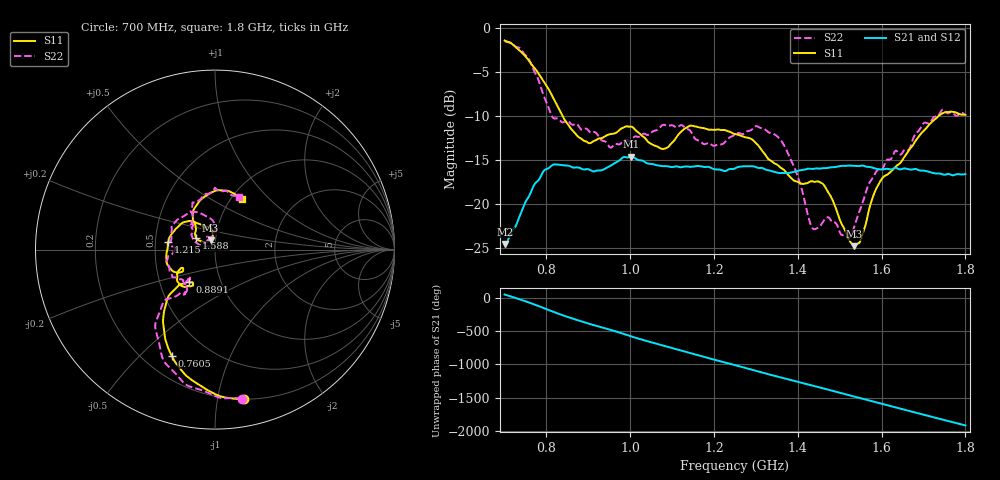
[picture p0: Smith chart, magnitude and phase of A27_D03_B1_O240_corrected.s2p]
! Created with skrf 1.9.0 (http://scikit-rf.org).
# Hz S RI R 50.0
!freq ReS11 ImS11 ReS21 ImS21 ReS12 ImS12 ReS22 ImS22
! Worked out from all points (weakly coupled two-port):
!   1601 points, 700 MHz to 1.8 GHz, reference 50 ohm
!   highest |S21| = -14.60 dB at 1.002 GHz (marker M1); lowest = -24.5 dB at 701.4 MHz (marker M2)
!   lowest |S11| = -24.8 dB at 1.535 GHz (marker M3), VSWR 1.12, Z = 47.3 + j4.93 ohm
!   |S11| at or under -10 dB: 838.3 MHz to 1.736 GHz (897.9 MHz wide, 69.8 % of centre)
!   |S22| runs from -23.9 to -1.5 dB; largest |S21 - S12| = 0.0036
!   S11 on the Smith chart (normalised r, x): 700 MHz: 0.20, -1.19; 760.5 MHz: 0.31, -0.63; 889.1 MHz: 0.71, -0.27; 1.215 GHz: 0.59, +0.05; 1.588 GHz: 0.80, +0.11; 1.8 GHz: 1.12, +0.71
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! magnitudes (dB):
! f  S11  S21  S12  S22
! 700 MHz  -1.4  -24.5  -24.3  -1.5
! 701.4 MHz  -1.4  -24.5  -24.2  -1.5
! 760.5 MHz  -3.9  -18.9  -18.8  -3.8
! 814.8 MHz  -7.8  -15.6  -15.6  -10.2
! 883.6 MHz  -12.6  -16.0  -15.9  -11.6
! 889.1 MHz  -12.8  -16.1  -16.0  -11.5
! 953 MHz  -12.1  -15.6  -15.6  -13.6
! 1.002 GHz  -11.2  -14.6  -14.7  -12.7
! 1.067 GHz  -13.5  -15.6  -15.6  -11.5
! 1.142 GHz  -11.1  -15.8  -15.7  -11.6
! 1.215 GHz  -11.6  -16.1  -16.1  -13.2
! 1.25 GHz  -12.1  -16.0  -15.9  -12.1
! 1.357 GHz  -15.8  -16.5  -16.4  -12.6
! 1.396 GHz  -17.4  -16.3  -16.3  -16.4
! 1.434 GHz  -17.4  -16.0  -16.0  -22.6
! 1.464 GHz  -18.0  -15.9  -15.9  -21.7
! 1.52 GHz  -23.8  -15.6  -15.6  -23.8
! 1.535 GHz  -24.8  -15.7  -15.7  -22.6
! 1.588 GHz  -18.2  -16.0  -16.0  -16.2
! 1.617 GHz  -16.5  -16.0  -16.0  -15.0
! 1.739 GHz  -9.9  -16.5  -16.6  -9.7
! 1.8 GHz  -9.9  -16.6  -16.6  -9.9
